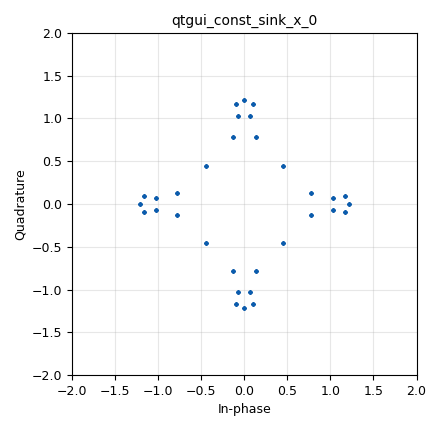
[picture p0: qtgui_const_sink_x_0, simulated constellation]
<?xml version='1.0' encoding='utf-8'?>
<?grc format='1' created='3.7.10'?>
<flow_graph>
<block>
<key>options</key>
<param><key>id</key><value>top_block</value></param>
<param><key>generate_options</key><value>qt_gui</value></param>
</block>
<block>
<key>variable</key>
<param><key>id</key><value>samp_rate</value></param>
<param><key>value</key><value>32000</value></param>
</block>
<block>
<key>blocks_delay</key>
<param><key>id</key><value>blocks_delay_0</value></param>
<param><key>delay</key><value>1</value></param>
<param><key>type</key><value>byte</value></param>
</block>
<block>
<key>blocks_pack_k_bits_bb</key>
<param><key>id</key><value>blocks_pack_k_bits_bb_0</value></param>
<param><key>k</key><value>2</value></param>
</block>
<block>
<key>blocks_throttle</key>
<param><key>id</key><value>blocks_throttle_0</value></param>
<param><key>samples_per_second</key><value>samp_rate</value></param>
<param><key>type</key><value>byte</value></param>
</block>
<block>
<key>blocks_unpacked_to_packed_xx</key>
<param><key>id</key><value>blocks_unpacked_to_packed_xx_0</value></param>
<param><key>bits_per_chunk</key><value>2</value></param>
<param><key>endianness</key><value>gr.GR_MSB_FIRST</value></param>
<param><key>type</key><value>byte</value></param>
</block>
<block>
<key>blocks_vector_source_x</key>
<param><key>id</key><value>blocks_vector_source_x_0_0</value></param>
<param><key>type</key><value>byte</value></param>
<param><key>repeat</key><value>True</value></param>
<param><key>vector</key><value>(0,1,0,1)</value></param>
</block>
<block>
<key>digital_psk_demod</key>
<param><key>id</key><value>digital_psk_demod_0</value></param>
<param><key>differential</key><value>True</value></param>
<param><key>excess_bw</key><value>0.35</value></param>
<param><key>freq_bw</key><value>6.28/100.0</value></param>
<param><key>mod_code</key><value>"gray"</value></param>
<param><key>constellation_points</key><value>4</value></param>
<param><key>phase_bw</key><value>6.28/100.0</value></param>
<param><key>samples_per_symbol</key><value>4</value></param>
<param><key>timing_bw</key><value>6.28/100.0</value></param>
</block>
<block>
<key>digital_psk_mod</key>
<param><key>id</key><value>digital_psk_mod_0</value></param>
<param><key>differential</key><value>True</value></param>
<param><key>excess_bw</key><value>0.35</value></param>
<param><key>mod_code</key><value>"gray"</value></param>
<param><key>constellation_points</key><value>4</value></param>
<param><key>samples_per_symbol</key><value>4</value></param>
</block>
<block>
<key>fec_ber_bf</key>
<param><key>id</key><value>fec_ber_bf_0</value></param>
<param><key>test_mode</key><value>False</value></param>
</block>
<block>
<key>qtgui_const_sink_x</key>
<param><key>id</key><value>qtgui_const_sink_x_0</value></param>
<param><key>size</key><value>1024</value></param>
<param><key>type</key><value>complex</value></param>
</block>
<block>
<key>qtgui_number_sink</key>
<param><key>id</key><value>qtgui_number_sink_0</value></param>
<param><key>graph_type</key><value>qtgui.NUM_GRAPH_HORIZ</value></param>
<param><key>type</key><value>float</value></param>
</block>
<connection><source_block_id>blocks_delay_0</source_block_id><sink_block_id>fec_ber_bf_0</sink_block_id><source_key>0</source_key><sink_key>0</sink_key></connection>
<connection><source_block_id>blocks_pack_k_bits_bb_0</source_block_id><sink_block_id>fec_ber_bf_0</sink_block_id><source_key>0</source_key><sink_key>1</sink_key></connection>
<connection><source_block_id>blocks_throttle_0</source_block_id><sink_block_id>blocks_delay_0</sink_block_id><source_key>0</source_key><sink_key>0</sink_key></connection>
<connection><source_block_id>blocks_throttle_0</source_block_id><sink_block_id>blocks_unpacked_to_packed_xx_0</sink_block_id><source_key>0</source_key><sink_key>0</sink_key></connection>
<connection><source_block_id>blocks_unpacked_to_packed_xx_0</source_block_id><sink_block_id>digital_psk_mod_0</sink_block_id><source_key>0</source_key><sink_key>0</sink_key></connection>
<connection><source_block_id>blocks_vector_source_x_0_0</source_block_id><sink_block_id>blocks_throttle_0</sink_block_id><source_key>0</source_key><sink_key>0</sink_key></connection>
<connection><source_block_id>digital_psk_demod_0</source_block_id><sink_block_id>blocks_pack_k_bits_bb_0</sink_block_id><source_key>0</source_key><sink_key>0</sink_key></connection>
<connection><source_block_id>digital_psk_mod_0</source_block_id><sink_block_id>digital_psk_demod_0</sink_block_id><source_key>0</source_key><sink_key>0</sink_key></connection>
<connection><source_block_id>digital_psk_mod_0</source_block_id><sink_block_id>qtgui_const_sink_x_0</sink_block_id><source_key>0</source_key><sink_key>0</sink_key></connection>
<connection><source_block_id>fec_ber_bf_0</source_block_id><sink_block_id>qtgui_number_sink_0</sink_block_id><source_key>0</source_key><sink_key>0</sink_key></connection>
</flow_graph>
